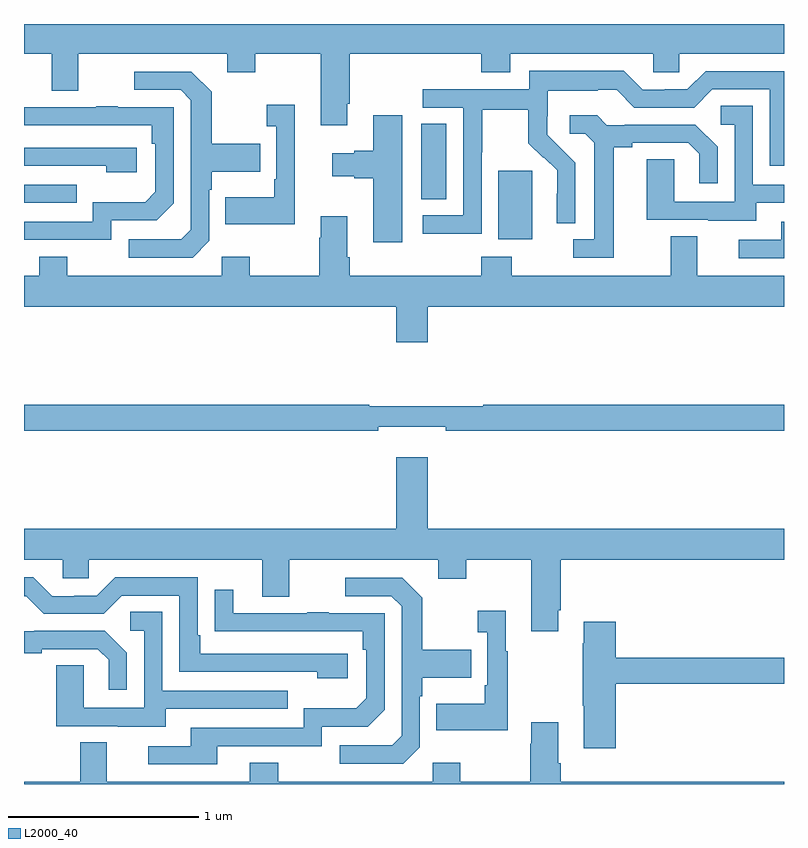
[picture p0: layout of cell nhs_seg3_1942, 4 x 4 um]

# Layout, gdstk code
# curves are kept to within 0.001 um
import gdstk
lib = gdstk.Library(unit=1e-6, precision=1e-09)
def R(c, l, rs):  # rectangles x0, y0, x1, y1
    for r in rs: c.add(gdstk.rectangle(r[:2], r[2:], *l))
def P(c, l, *ps):  # polygons
    for p in ps: c.add(gdstk.Polygon(p, *l))
L2000_40 = (2000, 40)

nhs_seg3_1942 = lib.new_cell('nhs_seg3_1942')
R(nhs_seg3_1942, L2000_40, [(213.497,705.266,213.676,705.627), (211,705.459,211.277,705.555), (213.092,705.478,213.223,705.875)])
P(nhs_seg3_1942, L2000_40, [(212.701,705.979),(212.714,705.979),(212.714,706.244),(213.407,706.244),(213.407,706.145),(213.559,706.145),(213.559,706.244),(214.311,706.244),(214.311,706.146),(214.449,706.146),(214.449,706.244),(215,706.244),(215,706.4),(211,706.4),(211,706.244),(211.145,706.244),(211.145,706.05),(211.285,706.05),(211.285,706.244),(212.069,706.244),(212.069,706.145),(212.217,706.145),(212.217,706.244),(212.561,706.244),(212.561,705.867),(212.701,705.867)],
  [(213.408,705.724),(213.411,705.724),(213.411,705.948),(213.655,705.948),(213.655,705.773),(213.732,705.696),(213.735,705.699),(213.806,705.629),(213.806,705.506),(213.804,705.506),(213.804,705.352),(213.9,705.352),(213.9,705.67),(213.754,705.818),(213.754,705.915),(213.756,705.915),(213.756,706.049),(214.019,706.049),(214.019,706.053),(214.119,706.053),(214.212,705.96),(214.527,705.96),(214.623,706.056),(214.926,706.056),(214.926,705.654),(215,705.654),(215,706.152),(214.587,706.152),(214.491,706.056),(214.373,706.056),(214.373,706.053),(214.257,706.053),(214.157,706.153),(213.66,706.153),(213.66,706.056),(213.099,706.056),(213.099,705.96),(213.312,705.96),(213.312,705.393),(213.099,705.393),(213.099,705.295),(213.408,705.295)],
  [(211.974,705.258),(211.974,705.527),(211.987,705.527),(211.987,705.623),(212.243,705.623),(212.243,705.771),(211.987,705.771),(211.987,706.043),(211.881,706.149),(211.581,706.149),(211.581,706.053),(211.824,706.053),(211.878,705.999),(211.878,705.318),(211.827,705.267),(211.551,705.267),(211.551,705.171),(211.887,705.171)],
  [(212.426,705.976),(212.277,705.976),(212.277,705.863),(212.328,705.863),(212.328,705.583),(212.316,705.583),(212.316,705.487),(212.059,705.487),(212.059,705.347),(212.426,705.347)],
  [(214.855,705.459),(215,705.459),(215,705.555),(214.836,705.555),(214.836,705.971),(214.668,705.971),(214.668,705.87),(214.74,705.87),(214.74,705.465),(214.422,705.465),(214.422,705.689),(214.277,705.689),(214.277,705.369),(214.601,705.369),(214.601,705.365),(214.855,705.365)],
  [(211.458,705.366),(211.698,705.366),(211.788,705.456),(211.788,705.963),(211.493,705.963),(211.493,705.968),(211.381,705.968),(211.381,705.963),(211,705.963),(211,705.867),(211.672,705.867),(211.672,705.77),(211.692,705.77),(211.692,705.516),(211.639,705.463),(211.362,705.463),(211.362,705.36),(211,705.36),(211,705.264),(211.458,705.264)],
  [(212.992,705.919),(212.837,705.919),(212.837,705.734),(212.738,705.734),(212.738,705.721),(212.622,705.721),(212.622,705.599),(212.738,705.599),(212.738,705.587),(212.837,705.587),(212.837,705.252),(212.992,705.252)],
  [(214.105,705.752),(214.201,705.752),(214.201,705.774),(214.496,705.774),(214.553,705.717),(214.553,705.561),(214.65,705.561),(214.65,705.754),(214.534,705.87),(214.162,705.87),(214.162,705.867),(214.068,705.867),(214.016,705.919),(213.873,705.919),(213.873,705.822),(213.954,705.822),(214.001,705.775),(214.001,705.267),(213.891,705.267),(213.891,705.171),(214.105,705.171)],
  [(211.594,705.75),(211,705.75),(211,705.654),(211.433,705.654),(211.433,705.62),(211.594,705.62)],
  [(213.124,704.912),(215,704.912),(215,705.076),(214.543,705.076),(214.543,705.284),(214.403,705.284),(214.403,705.076),(213.567,705.076),(213.567,705.175),(213.407,705.175),(213.407,705.076),(212.714,705.076),(212.714,705.172),(212.701,705.172),(212.701,705.388),(212.561,705.388),(212.561,705.275),(212.554,705.275),(212.554,705.076),(212.187,705.076),(212.187,705.175),(212.04,705.175),(212.04,705.076),(211.227,705.076),(211.227,705.175),(211.079,705.175),(211.079,705.076),(211,705.076),(211,704.912),(212.96,704.912),(212.96,704.724),(213.124,704.724)],
  [(215,705.36),(214.985,705.36),(214.985,705.264),(214.761,705.264),(214.761,705.168),(215,705.168)],
  [(212.864,704.279),(213.22,704.279),(213.22,704.26),(215,704.26),(215,704.396),(213.418,704.396),(213.418,704.389),(212.818,704.389),(212.818,704.396),(211,704.396),(211,704.26),(212.864,704.26)],
  [(211,703.58),(211.203,703.58),(211.203,703.482),(211.341,703.482),(211.341,703.58),(212.255,703.58),(212.255,703.386),(212.395,703.386),(212.395,703.58),(213.179,703.58),(213.179,703.481),(213.327,703.481),(213.327,703.58),(213.671,703.58),(213.671,703.203),(213.811,703.203),(213.811,703.315),(213.824,703.315),(213.824,703.58),(215,703.58),(215,703.744),(213.124,703.744),(213.124,704.119),(212.96,704.119),(212.96,703.744),(211,703.744)],
  [(212.704,703.086),(211.927,703.086),(211.927,703.183),(211.914,703.183),(211.914,703.488),(211.479,703.488),(211.383,703.392),(211.265,703.392),(211.265,703.389),(211.149,703.389),(211.049,703.489),(211,703.489),(211,703.389),(211.011,703.389),(211.104,703.296),(211.419,703.296),(211.515,703.392),(211.818,703.392),(211.818,702.99),(212.543,702.99),(212.543,702.956),(212.704,702.956)],
  [(213.084,702.594),(213.084,702.863),(213.097,702.863),(213.097,702.959),(213.353,702.959),(213.353,703.107),(213.097,703.107),(213.097,703.379),(212.991,703.485),(212.691,703.485),(212.691,703.389),(212.934,703.389),(212.988,703.335),(212.988,702.654),(212.937,702.603),(212.661,702.603),(212.661,702.507),(212.997,702.507)],
  [(212.017,702.6),(212.568,702.6),(212.568,702.702),(212.808,702.702),(212.898,702.792),(212.898,703.299),(212.603,703.299),(212.603,703.304),(212.491,703.304),(212.491,703.299),(212.101,703.299),(212.101,703.423),(212.005,703.423),(212.005,703.204),(212.782,703.203),(212.782,703.106),(212.802,703.106),(212.802,702.852),(212.749,702.799),(212.472,702.799),(212.472,702.696),(211.877,702.696),(211.877,702.6),(211.653,702.6),(211.653,702.504),(212.017,702.504)],
  [(213.547,703.099),(213.535,703.099),(213.535,703.312),(213.387,703.312),(213.387,703.199),(213.438,703.199),(213.438,702.919),(213.426,702.919),(213.426,702.823),(213.169,702.823),(213.169,702.683),(213.547,702.683)],
  [(211.747,702.795),(212.387,702.795),(212.387,702.891),(211.728,702.891),(211.728,703.307),(211.56,703.307),(211.56,703.206),(211.632,703.206),(211.632,702.801),(211.314,702.801),(211.314,703.025),(211.169,703.025),(211.169,702.705),(211.493,702.705),(211.493,702.701),(211.747,702.701)],
  [(214.115,702.928),(215,702.928),(215,703.064),(214.115,703.064),(214.115,703.255),(213.947,703.255),(213.947,703.142),(213.94,703.142),(213.94,702.811),(213.947,702.811),(213.947,702.588),(214.115,702.588)],
  [(211.542,703.09),(211.426,703.206),(211.054,703.206),(211.054,703.203),(211,703.203),(211,703.088),(211.093,703.088),(211.093,703.11),(211.388,703.11),(211.445,703.053),(211.445,702.897),(211.542,702.897)],
  [(215,702.412),(213.824,702.412),(213.824,702.508),(213.811,702.508),(213.811,702.724),(213.671,702.724),(213.671,702.611),(213.664,702.611),(213.664,702.412),(213.297,702.412),(213.297,702.511),(213.15,702.511),(213.15,702.412),(212.337,702.412),(212.337,702.511),(212.189,702.511),(212.189,702.412),(211.435,702.412),(211.435,702.62),(211.295,702.62),(211.295,702.412),(211,702.412),(211,702.4),(215,702.4)])

lib.write_gds('nhs_seg3_1942.gds')
